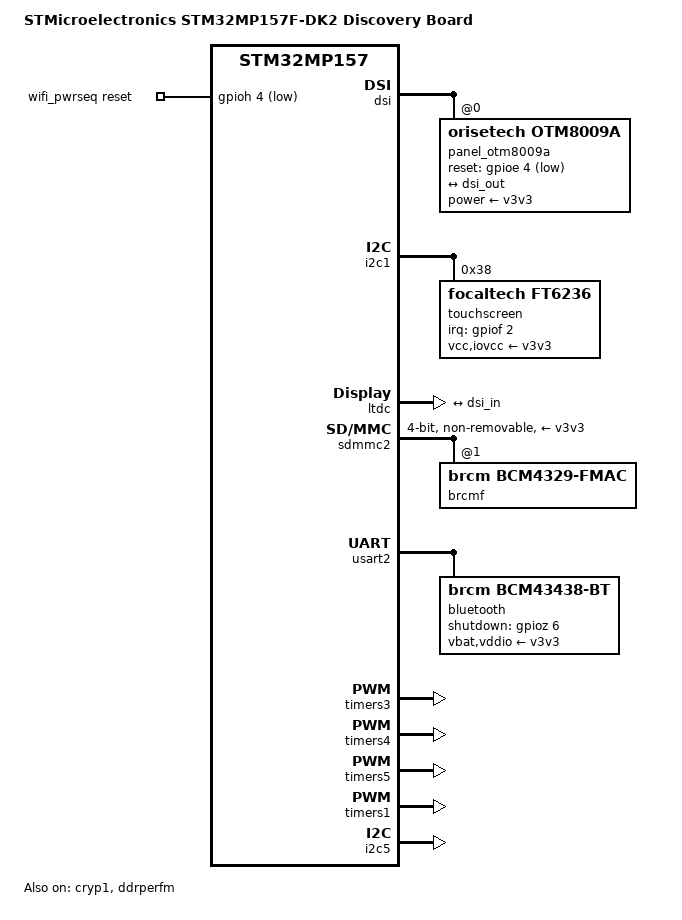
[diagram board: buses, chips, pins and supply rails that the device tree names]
// SPDX-License-Identifier: (GPL-2.0-or-later OR BSD-3-Clause)
/*
 * Copyright (C) STMicroelectronics 2023 - All Rights Reserved
 * Author: Alexandre Torgue <alexandre.torgue@foss.st.com> for STMicroelectronics.
 */

/dts-v1/;

#include "stm32mp157.dtsi"
#include "stm32mp15xf.dtsi"
#include "stm32mp15-pinctrl.dtsi"
#include "stm32mp15xxac-pinctrl.dtsi"
#include "stm32mp15xx-dkx.dtsi"
#include "stm32mp157c-dk2-scmi.dtsi"
#include <dt-bindings/rtc/rtc-stm32.h>

/ {
	model = "STMicroelectronics STM32MP157F-DK2 Discovery Board";
	compatible = "st,stm32mp157f-dk2", "st,stm32mp157";

	aliases {
		serial3 = &usart2;
	};

	chosen {
		#address-cells = <1>;
		#size-cells = <1>;
		ranges;
		stdout-path = "serial0:115200n8";

		framebuffer {
			compatible = "simple-framebuffer";
			clocks = <&rcc LTDC_PX>, <&rcc DSI>, <&rcc DSI_PX>;
			status = "disabled";
		};
	};

	wifi_pwrseq: wifi-pwrseq {
		compatible = "mmc-pwrseq-simple";
		reset-gpios = <&gpioh 4 GPIO_ACTIVE_LOW>;
	};
};

&cryp1 {
	status = "okay";
};

&ddrperfm {
	status = "okay";
};

&dsi {
	#address-cells = <1>;
	#size-cells = <0>;
	status = "okay";

	panel_otm8009a: panel-otm8009a@0 {
		compatible = "orisetech,otm8009a";
		reg = <0>;
		reset-gpios = <&gpioe 4 GPIO_ACTIVE_LOW>;
		power-supply = <&v3v3>;
		default-on;
		status = "okay";

		port {
			panel_in: endpoint {
				remote-endpoint = <&dsi_out>;
			};
		};
	};
};

&dsi_in {
	remote-endpoint = <&ltdc_ep1_out>;
};

&dsi_out {
	remote-endpoint = <&panel_in>;
};

&hdp {
	pinctrl-names = "default", "sleep";
	pinctrl-0 = <&hdp2_gpo &hdp2_pins_a>;
	pinctrl-1 = <&hdp2_sleep_pins_a>;
	status = "disabled";
};

&i2c1 {
	touchscreen@38 {
		compatible = "focaltech,ft6236";
		reg = <0x38>;
		interrupts = <2 2>;
		interrupt-parent = <&gpiof>;
		interrupt-controller;
		touchscreen-size-x = <480>;
		touchscreen-size-y = <800>;
		vcc-supply = <&v3v3>;
		iovcc-supply = <&v3v3>;
		panel = <&panel_otm8009a>;
		status = "okay";
	};
};

&ltdc {
	default-on;
	status = "okay";

	port {
		#address-cells = <1>;
		#size-cells = <0>;

		ltdc_ep1_out: endpoint@1 {
			reg = <1>;
			remote-endpoint = <&dsi_in>;
		};
	};
};

&rtc {
	st,lsco = <RTC_OUT2_RMP>;
	pinctrl-0 = <&rtc_out2_rmp_pins_a>;
	pinctrl-names = "default";
};

/* Wifi */
&sdmmc2 {
	pinctrl-names = "default", "opendrain", "sleep";
	pinctrl-0 = <&sdmmc2_b4_pins_a>;
	pinctrl-1 = <&sdmmc2_b4_od_pins_a>;
	pinctrl-2 = <&sdmmc2_b4_sleep_pins_a>;
	non-removable;
	cap-sdio-irq;
	st,neg-edge;
	bus-width = <4>;
	vmmc-supply = <&v3v3>;
	mmc-pwrseq = <&wifi_pwrseq>;
	#address-cells = <1>;
	#size-cells = <0>;
	status = "okay";

	brcmf: bcrmf@1 {
		reg = <1>;
		compatible = "brcm,bcm4329-fmac";
	};
};

/* Bluetooth */
&usart2 {
	pinctrl-names = "default", "sleep", "idle";
	pinctrl-0 = <&usart2_pins_c>;
	pinctrl-1 = <&usart2_sleep_pins_c>;
	pinctrl-2 = <&usart2_idle_pins_c>;
	uart-has-rtscts;
	status = "okay";

	bluetooth {
		shutdown-gpios = <&gpioz 6 GPIO_ACTIVE_HIGH>;
		compatible = "brcm,bcm43438-bt";
		max-speed = <3000000>;
		vbat-supply = <&v3v3>;
		vddio-supply = <&v3v3>;
	};
};

&spi5 {
	pinctrl-names = "default", "sleep";
	pinctrl-0 = <&spi5_pins_a>;
	pinctrl-1 = <&spi5_sleep_pins_a>;
	cs-gpios = <&gpiof 6 0>;
	status = "disabled";

	spidev@0 {
		compatible = "semtech,sx1301";
		spi-max-frequency = <5000000>;
		reg = <0>;
	};
};

&sai2 {
	status = "disabled";
};

/*pwm */
&pinctrl {
	pwm1_pins_b: pwm1-1 {
		pins {
			pinmux = <STM32_PINMUX('B', 13, AF1)>; /* TIM1_CH1N */
			bias-pull-down;
			drive-push-pull;
			slew-rate = <0>;
		};
	};

	pwm1_sleep_pins_b: pwm1-sleep-1 {
		pins {
			pinmux = <STM32_PINMUX('B', 13, ANALOG)>; /* TIM1_CH1N */
		};
	};

	pwm3_pins_a: pwm3-0 {
		pins {
			pinmux = <STM32_PINMUX('C', 7, AF2)>; /* TIM3_CH2 */
			bias-pull-down;
			drive-push-pull;
			slew-rate = <0>;
		};
	};

	pwm3_sleep_pins_a: pwm3-sleep-0 {
		pins {
			pinmux = <STM32_PINMUX('C', 7, ANALOG)>; /* TIM3_CH2 */
		};
	};
	
	pwm4_pins_b: pwm4-1 {
		pins {
			pinmux = <STM32_PINMUX('D', 13, AF2)>; /* TIM4_CH2 */
			bias-pull-down;
			drive-push-pull;
			slew-rate = <0>;
		};
	};

	pwm4_sleep_pins_b: pwm4-sleep-1 {
		pins {
			pinmux = <STM32_PINMUX('D', 13, ANALOG)>; /* TIM4_CH2 */
		};
	};
	pwm5_pins_a: pwm5-0 {
		pins {
			pinmux = <STM32_PINMUX('H', 11, AF2)>; /* TIM5_CH2 */
			bias-pull-down;
			drive-push-pull;
			slew-rate = <0>;
		};
	};

	pwm5_sleep_pins_a: pwm5-sleep-0 {
		pins {
			pinmux = <STM32_PINMUX('H', 11, ANALOG)>; /* TIM5_CH2 */
		};
	};
	
	
};

&timers3 {
	status = "okay";
	/* spare all DMA channels since they are not needed for PWM output */
	/delete-property/dmas;
	/delete-property/dma-names;
	pwm3: pwm {
		/* configure PWM pins on TIM3_CH2 */
		pinctrl-0 = <&pwm3_pins_a>;
		pinctrl-1 = <&pwm3_sleep_pins_a>;
		pinctrl-names = "default", "sleep";
		status = "okay";
	};
};

&timers4 {
	status = "okay";
	/* spare all DMA channels since they are not needed for PWM output */
	/delete-property/dmas;
	/delete-property/dma-names;
	pwm4: pwm {
		/* configure PWM pins on TIM4_CH2 */
		pinctrl-0 = <&pwm4_pins_b>;
		pinctrl-1 = <&pwm4_sleep_pins_b>;
		pinctrl-names = "default", "sleep";
		status = "okay";
	};
};

&timers5 {
	status = "okay";
	/* spare all DMA channels since they are not needed for PWM output */
	/delete-property/dmas;
	/delete-property/dma-names;
	pwm5: pwm {
		/* configure PWM pins on TIM5_CH2 */
		pinctrl-0 = <&pwm5_pins_a>;
		pinctrl-1 = <&pwm5_sleep_pins_a>;
		pinctrl-names = "default", "sleep";
		status = "okay";
	};
};

&timers1 {
	status = "okay";
	/* spare all DMA channels since they are not needed for PWM output */
	/delete-property/dmas;
	/delete-property/dma-names;
	pwm1: pwm {
		/* configure PWM pins on TIM1_CH1N */
		pinctrl-0 = <&pwm1_pins_b>;
		pinctrl-1 = <&pwm1_sleep_pins_b>;
		pinctrl-names = "default", "sleep";
		status = "okay";
	};
};

&i2c5 {
	status = "okay";
};
